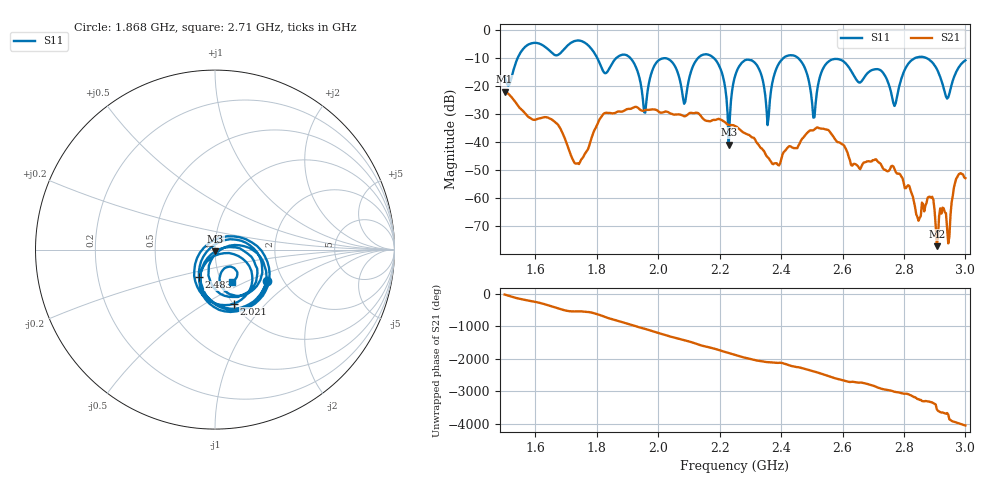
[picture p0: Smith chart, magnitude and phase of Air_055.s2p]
# HZ S RI R 50
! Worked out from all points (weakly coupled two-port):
!   404 points, 1.5 GHz to 3 GHz, reference 50 ohm
!   highest |S21| = -21.93 dB at 1.5 GHz (marker M1); lowest = -77.0 dB at 2.907 GHz (marker M2)
!   lowest |S11| = -40.8 dB at 2.23 GHz (marker M3), VSWR 1.02, Z = 50.2 - j0.893 ohm
!   |S11| at or under -10 dB: 2.182 GHz to 2.407 GHz (224.4 MHz wide, 9.78 % of centre); 2.457 GHz to 2.834 GHz (377.7 MHz wide, 14.3 % of centre); 2.875 GHz to end of sweep (the widest 3 of 7)
!   S12 and S22 are empty: the file has one direction only
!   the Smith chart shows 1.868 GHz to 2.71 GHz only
!   S11 on the Smith chart (normalised r, x): 1.868 GHz: 1.66, -0.65; 2.021 GHz: 1.01, -0.68; 2.483 GHz: 0.80, -0.26; 2.71 GHz: 1.13, -0.42
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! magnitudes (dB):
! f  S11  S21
! 1.5 GHz  -16.6  -21.9
! 1.578 GHz  -5.0  -31.0
! 1.753 GHz  -3.9  -45.6
! 1.868 GHz  -9.5  -29.0
! 1.958 GHz  -29.4  -28.5
! 2.002 GHz  -10.6  -29.1
! 2.021 GHz  -9.9  -29.1
! 2.084 GHz  -26.2  -30.6
! 2.177 GHz  -9.6  -32.0
! 2.23 GHz  -40.8  -33.8
! 2.252 GHz  -15.7  -34.2
! 2.315 GHz  -11.6  -38.9
! 2.356 GHz  -33.8  -45.3
! 2.404 GHz  -10.2  -44.4
! 2.483 GHz  -15.0  -36.9
! 2.501 GHz  -26.2  -35.7
! 2.561 GHz  -10.7  -36.5
! 2.71 GHz  -13.8  -46.1
! 2.751 GHz  -19.3  -50.2
! 2.907 GHz  -13.8  -77.0
! 2.94 GHz  -24.3  -70.5
! 3 GHz  -10.7  -52.8
